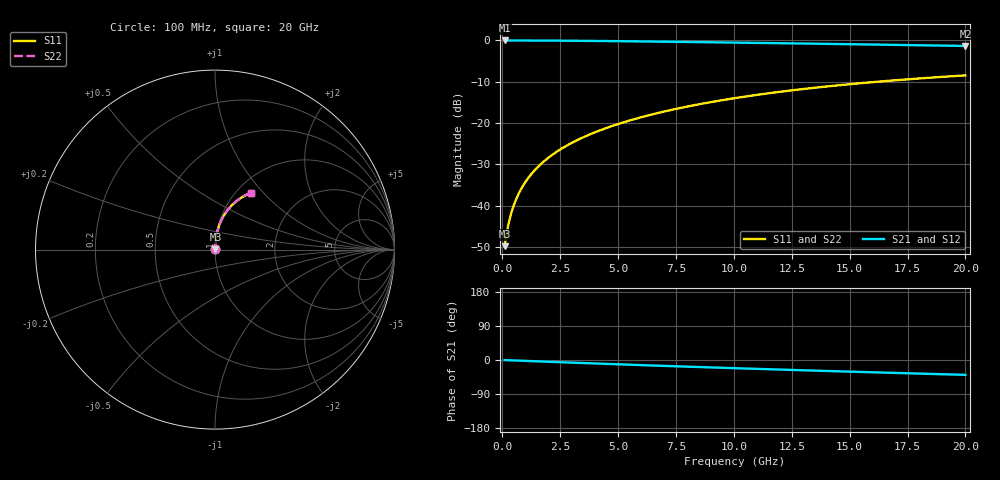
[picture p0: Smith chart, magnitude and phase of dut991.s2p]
! Touchstone file exported from HFSS 2024.1.0
!  File:  C:/UserFiles/LocalFiles/RDL_TSV_Batchsim/temp_RDL_top_991_1779939640.aedt
!  Generated:  11:42:56 AM May 28, 2026
!  Design:  RDL_top
!  Project:  temp_RDL_top_991_1779939640
!  Setup:  Setup1
!  Solution:  Sweep
! Variables:
!  dtsv = 10.80580581um
!  hbump = 3um
!  htsv = 86.44um
!  ldown = 100um
!  lrdl = 528.8um
!  p = 40
!  p1 = 53.47um
!  rhole = 1um
!  t = 450um
!  tdown = 3.915915916um
!  trdl = 3.91um
!  wdown = 15.38538539um
!  wrdl = 20.67um
# GHz S MA R 50.000000
! Terminal data exported
! Port[1] = Box2_T1
! Port[2] = Box2_T2
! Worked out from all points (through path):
!   200 points, 100 MHz to 20 GHz, reference 50 ohm
!   highest |S21| = -0.02 dB at 100 MHz (marker M1); lowest = -1.3 dB at 20 GHz (marker M2)
!   group delay of S21, straight-line fit = 5.4 ps
!   lowest |S11| = -49.8 dB at 100 MHz (marker M3), VSWR 1.01, Z = 50.2 + j0.206 ohm
!   |S11| at or under -10 dB: start of sweep to 16.23 GHz
!   |S22| runs from -49.8 to -8.5 dB; largest |S21 - S12| = 3.1e-15
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0.1  0.003224 39.5  0.9975 -0.2  0.9975 -0.2  0.003224 39.5
! Gamma 0 0 0 0
! Port Impedance 50 0 50 0
0.2  0.004807 57.2  0.9974 -0.5  0.9974 -0.5  0.004807 57.2
0.3  0.00656 65.4  0.9972 -0.7  0.9972 -0.7  0.00656 65.4
0.4  0.008348 70.1  0.9971 -1.0  0.9971 -1.0  0.008348 70.1
0.5  0.01015 73.1  0.9969 -1.2  0.9969 -1.2  0.01015 73.1
0.6  0.01196 75.3  0.9968 -1.4  0.9968 -1.4  0.01196 75.4
0.8  0.01562 78.3  0.9964 -1.9  0.9964 -1.9  0.01562 78.3
1.1  0.02118 80.8  0.9959 -2.6  0.9959 -2.6  0.02118 80.8
1.5  0.02868 82.5  0.995 -3.5  0.995 -3.5  0.02868 82.5
1.8  0.03435 83.2  0.9942 -4.2  0.9942 -4.2  0.03435 83.3
2.1  0.04006 83.7  0.9932 -4.9  0.9932 -4.9  0.04006 83.7
2.7  0.05159 84.0  0.9909 -6.3  0.9909 -6.3  0.05159 84.0
3.5  0.06717 83.9  0.9871 -8.1  0.9871 -8.1  0.06718 83.9
4.2  0.08101 83.5  0.9832 -9.7  0.9832 -9.7  0.08103 83.5
5  0.09704 82.7  0.9782 -11.4  0.9782 -11.4  0.09706 82.8
5.9  0.1153 81.7  0.9721 -13.3  0.9721 -13.3  0.1153 81.7
6.8  0.1337 80.4  0.9656 -15.2  0.9656 -15.2  0.1337 80.5
8.4  0.1665 77.9  0.9533 -18.4  0.9533 -18.4  0.1666 78.0
10.1  0.201 75.0  0.9397 -21.7  0.9397 -21.7  0.2011 75.1
13.4  0.2653 69.1  0.9123 -27.9  0.9123 -27.9  0.2655 69.1
16.7  0.3242 63.2  0.8843 -33.7  0.8843 -33.7  0.3245 63.2
20  0.3768 57.5  0.8562 -39.2  0.8562 -39.2  0.3771 57.5
